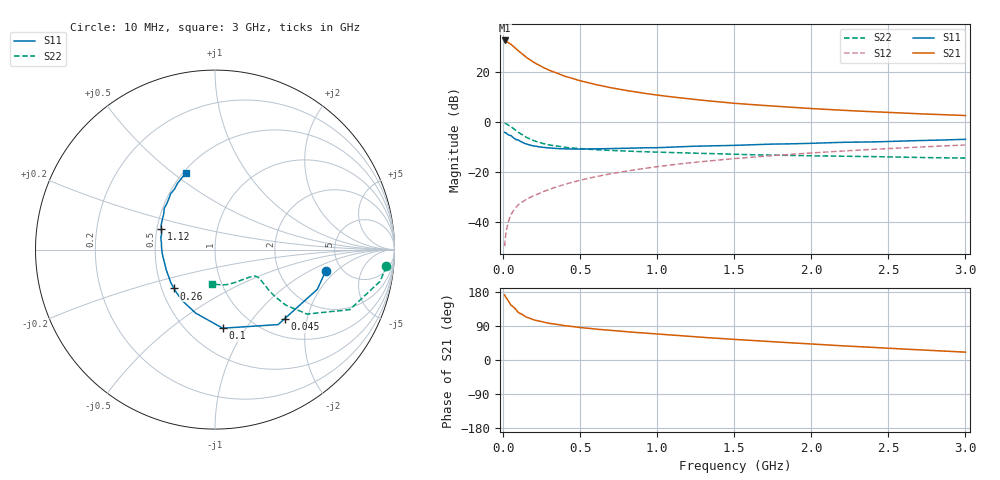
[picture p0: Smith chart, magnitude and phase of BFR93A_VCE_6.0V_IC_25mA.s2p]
! Infineon Technologies  Discrete & RF Semiconductors
! BFR93A
! VCE =  6.0 V,  IC =  25 mA
! Common Emitter S-Parameters:  Nov 2015
# GHz  S  MA  R  50
!  f  S11  S21  S12  S22
! GHz  MAG  ANG  MAG  ANG  MAG  ANG  MAG  ANG
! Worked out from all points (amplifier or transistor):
!   180 points, 10 MHz to 3 GHz, reference 50 ohm
!   highest |S21| = 32.8 dB at 10 MHz (marker M1)
!   |S21| within 3 dB of that: start of sweep to 77.29 MHz
!   unconditionally stable (mu >= 1): 392.9 MHz to 2.675 GHz
!   at 160 MHz: K = 0.73, MSG = 28.1 dB, |S12| = -30.6 dB
!   at 1.22 GHz: K = 1.07, MAG = 11.1 dB, |S12| = -16.2 dB
!   at 3 GHz: K = 0.97, MSG = 5.9 dB, |S12| = -9.1 dB
!   S11 on the Smith chart (normalised r, x): 10 MHz: 3.77, -1.47; 45 MHz: 1.34, -1.47; 100 MHz: 0.73, -0.79; 260 MHz: 0.58, -0.28; 1.12 GHz: 0.53, +0.14; 3 GHz: 0.52, +0.56
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0.01  0.6284 -10.8  43.69 171.7  0.0033 84.4  0.9591 -5.6
0.02  0.6117 -21.2  42.53 164.4  0.0065 79.4  0.9368 -10.9
0.045  0.5468 -44.8  37.49 148.8  0.0127 71.3  0.8377 -21.6
0.05  0.5462 -49.9  36.87 145.3  0.014 70.6  0.8219 -24.0
0.1  0.44 -84.4  26.89 125.0  0.0225 64.0  0.6261 -35.0
0.15  0.3699 -107.0  20.11 113.2  0.0284 63.1  0.5007 -38.1
0.2  0.3371 -123.2  15.87 105.9  0.034 64.3  0.4275 -38.1
0.24  0.3206 -132.5  13.59 101.8  0.0384 65.3  0.3909 -37.4
0.26  0.3152 -136.6  12.62 99.9  0.0407 65.9  0.3758 -37.0
0.3  0.3071 -143.4  11.02 96.7  0.0453 67.2  0.3521 -36.0
0.4  0.2941 -157.5  8.394 90.5  0.0571 68.9  0.3155 -34.1
0.5  0.2915 -168.2  6.804 85.7  0.0691 69.3  0.2963 -33.0
0.52  0.2918 -169.7  6.584 85.0  0.0715 69.4  0.2935 -32.9
0.6  0.2947 -175.4  5.718 81.6  0.0811 69.8  0.2824 -32.7
0.7  0.2979 178.7  4.931 77.9  0.0933 69.5  0.2731 -33.1
0.86  0.3052 169.8  4.063 72.8  0.1125 68.7  0.2609 -34.4
1.02  0.3118 162.6  3.45 67.8  0.1316 67.4  0.2524 -36.6
1.12  0.3203 158.8  3.167 64.9  0.1435 66.6  0.2468 -38.4
1.52  0.3467 145.6  2.381 53.9  0.1896 62.7  0.2282 -46.6
2.02  0.3814 132.5  1.873 41.9  0.2455 57.4  0.2132 -59.7
2.52  0.4158 121.4  1.564 30.7  0.3004 51.5  0.2026 -75.2
3  0.4567 110.8  1.369 20.7  0.3519 45.8  0.1929 -94.2
